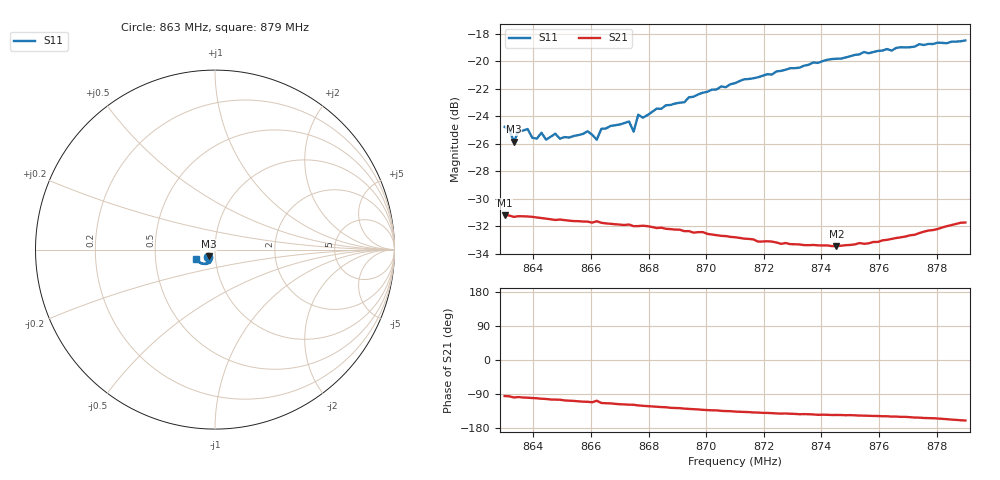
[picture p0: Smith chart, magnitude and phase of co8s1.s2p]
# HZ S RI R 50
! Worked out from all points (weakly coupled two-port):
!   101 points, 863 MHz to 879 MHz, reference 50 ohm
!   highest |S21| = -31.20 dB at 863 MHz (marker M1); lowest = -33.5 dB at 874.52 MHz (marker M2)
!   lowest |S11| = -25.8 dB at 863.32 MHz (marker M3), VSWR 1.11, Z = 46.6 - j3.55 ohm
!   |S11| at or under -10 dB: start of sweep to end of sweep
!   S12 and S22 are empty: the file has one direction only
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8.63e8  -0.0377 -0.0437  -0.00247 -0.0274  0 0  0 0
8.6316e8  -0.0369 -0.0429  -0.00275 -0.0273  0 0  0 0
8.6332e8  -0.034 -0.0381  -0.00419 -0.0268  0 0  0 0
8.6348e8  -0.0349 -0.0433  -0.00372 -0.0271  0 0  0 0
8.638e8  -0.0358 -0.044  -0.00445 -0.0269  0 0  0 0
8.6396e8  -0.0317 -0.0421  -0.00488 -0.0267  0 0  0 0
8.6428e8  -0.0302 -0.0459  -0.00568 -0.0263  0 0  0 0
8.6444e8  -0.0294 -0.0427  -0.00596 -0.0261  0 0  0 0
8.6476e8  -0.0296 -0.0458  -0.00662 -0.0256  0 0  0 0
8.6572e8  -0.0242 -0.0487  -0.00891 -0.0246  0 0  0 0
8.6588e8  -0.0239 -0.0502  -0.00906 -0.0245  0 0  0 0
8.662e8  -0.0161 -0.0493  -0.00784 -0.025  0 0  0 0
8.6636e8  -0.0234 -0.0518  -0.0103 -0.0237  0 0  0 0
8.6732e8  -0.0212 -0.0565  -0.0119 -0.0225  0 0  0 0
8.6748e8  -0.0249 -0.0496  -0.0118 -0.0222  0 0  0 0
8.6764e8  -0.0236 -0.0594  -0.0126 -0.0218  0 0  0 0
8.6844e8  -0.0224 -0.0633  -0.014 -0.0205  0 0  0 0
8.71e8  -0.0361 -0.075  -0.0165 -0.0159  0 0  0 0
8.7372e8  -0.0577 -0.0805  -0.0173 -0.0127  0 0  0 0
8.7452e8  -0.0651 -0.0787  -0.0174 -0.0122  0 0  0 0
8.7644e8  -0.0824 -0.072  -0.0194 -0.0115  0 0  0 0
8.79e8  -0.1076 -0.0509  -0.0243 -0.00902  0 0  0 0
